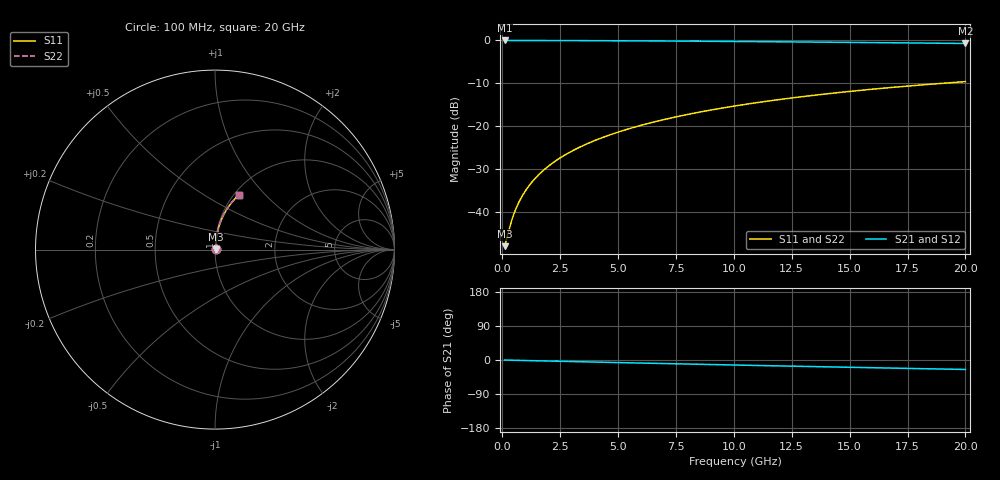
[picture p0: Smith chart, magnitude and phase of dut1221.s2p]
! Touchstone file exported from HFSS 2024.1.0
!  File:  C:/UserFiles/LocalFiles/RDL_TSV_Batchsim/temp_RDL_bottom_1221_1780244153.aedt
!  Generated:  12:18:35 AM Jun  1, 2026
!  Design:  RDL_bottom
!  Project:  temp_RDL_bottom_1221_1780244153
!  Setup:  Setup1
!  Solution:  Sweep
! Variables:
!  dtsv = 10.80580581um
!  hbump = 3um
!  htsv = 58.51um
!  ldown = 251.45um
!  lrdl = 100um
!  p = 40
!  p1 = 55.09um
!  rhole = 1um
!  t = 450um
!  tdown = 2.1um
!  trdl = 3.915915916um
!  wdown = 12.62um
!  wrdl = 20um
# GHz S MA R 50.000000
! Terminal data exported
! Port[1] = RDL1_T1
! Port[2] = RDL1_T2
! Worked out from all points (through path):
!   200 points, 100 MHz to 20 GHz, reference 50 ohm
!   highest |S21| = -0.03 dB at 100 MHz (marker M1); lowest = -0.7 dB at 20 GHz (marker M2)
!   group delay of S21, straight-line fit = 3.47 ps
!   lowest |S11| = -47.9 dB at 100 MHz (marker M3), VSWR 1.01, Z = 50.4 + j0.177 ohm
!   |S11| at or under -10 dB: start of sweep to 19.02 GHz
!   |S22| runs from -47.9 to -9.6 dB; largest |S21 - S12| = 6.2e-15
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0.1  0.004025 25.9  0.9964 -0.1  0.9964 -0.1  0.004025 25.9
! Gamma 0 0 0 0
! Port Impedance 50 0 50 0
0.3  0.006427 54.9  0.9963 -0.4  0.9963 -0.4  0.006427 54.9
0.4  0.007939 61.8  0.9962 -0.6  0.9962 -0.6  0.007939 61.8
0.5  0.009523 66.3  0.9962 -0.7  0.9962 -0.7  0.009523 66.3
0.6  0.01114 69.5  0.9961 -0.8  0.9961 -0.8  0.01114 69.5
0.7  0.01278 71.9  0.996 -1.0  0.996 -1.0  0.01278 71.9
0.9  0.01609 75.0  0.9958 -1.3  0.9958 -1.3  0.01609 75.0
1.2  0.02107 77.9  0.9955 -1.7  0.9955 -1.7  0.02107 77.9
1.4  0.0244 79.1  0.9953 -1.9  0.9953 -1.9  0.0244 79.1
1.7  0.02942 80.3  0.9949 -2.4  0.9949 -2.4  0.02942 80.3
2.2  0.03781 81.6  0.9942 -3.0  0.9942 -3.0  0.03781 81.6
2.8  0.04794 82.3  0.9933 -3.9  0.9933 -3.9  0.04794 82.3
3.5  0.05982 82.6  0.9919 -4.8  0.9919 -4.8  0.05982 82.6
4.2  0.07176 82.6  0.9904 -5.7  0.9904 -5.7  0.07176 82.6
5  0.08547 82.3  0.9883 -6.8  0.9883 -6.8  0.08547 82.3
5.9  0.101 81.7  0.9857 -8.0  0.9857 -8.0  0.101 81.7
6.8  0.1165 81.1  0.9828 -9.2  0.9828 -9.2  0.1165 81.1
8.3  0.1423 79.7  0.9773 -11.1  0.9773 -11.1  0.1423 79.7
10.1  0.1732 77.8  0.97 -13.4  0.97 -13.4  0.1732 77.8
13.4  0.2284 74.1  0.9547 -17.4  0.9547 -17.4  0.2284 74.1
16.7  0.2811 70.3  0.9375 -21.3  0.9375 -21.3  0.2811 70.3
20  0.3306 66.6  0.9187 -25.0  0.9187 -25.0  0.3306 66.6
